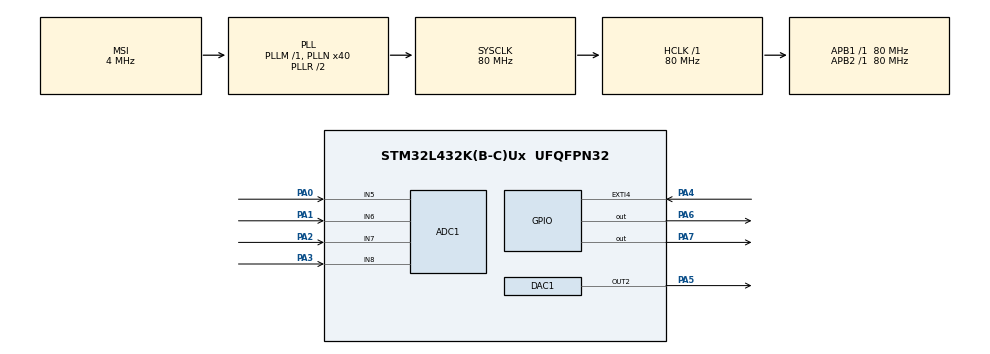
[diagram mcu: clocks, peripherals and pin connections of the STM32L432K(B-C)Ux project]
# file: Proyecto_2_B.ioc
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ADC1.Channel-1\#ChannelRegularConversion=ADC_CHANNEL_5
ADC1.Channel-3\#ChannelRegularConversion=ADC_CHANNEL_6
ADC1.Channel-4\#ChannelRegularConversion=ADC_CHANNEL_7
ADC1.Channel-5\#ChannelRegularConversion=ADC_CHANNEL_8
ADC1.EOCSelection=ADC_EOC_SEQ_CONV
ADC1.NbrOfConversion=4
ADC1.NbrOfConversionFlag=1
ADC1.OffsetNumber-3\#ChannelRegularConversion=ADC_OFFSET_NONE
ADC1.OffsetNumber-4\#ChannelRegularConversion=ADC_OFFSET_NONE
ADC1.OffsetNumber-5\#ChannelRegularConversion=ADC_OFFSET_NONE
ADC1.Rank-3\#ChannelRegularConversion=2
ADC1.Rank-4\#ChannelRegularConversion=3
ADC1.Rank-5\#ChannelRegularConversion=4
ADC1.SamplingTime-3\#ChannelRegularConversion=ADC_SAMPLETIME_2CYCLES_5
ADC1.SamplingTime-4\#ChannelRegularConversion=ADC_SAMPLETIME_2CYCLES_5
ADC1.SamplingTime-5\#ChannelRegularConversion=ADC_SAMPLETIME_2CYCLES_5
ADC1.master=1
DAC1.DAC_Channel-DAC_OUT2=DAC_CHANNEL_2
Dma.ADC1.0.Direction=DMA_PERIPH_TO_MEMORY
Dma.ADC1.0.Instance=DMA1_Channel1
Dma.ADC1.0.MemDataAlignment=DMA_MDATAALIGN_HALFWORD
Dma.ADC1.0.MemInc=DMA_MINC_ENABLE
Dma.ADC1.0.Mode=DMA_CIRCULAR
Dma.ADC1.0.PeriphDataAlignment=DMA_PDATAALIGN_HALFWORD
Dma.ADC1.0.PeriphInc=DMA_PINC_DISABLE
Dma.ADC1.0.Priority=DMA_PRIORITY_LOW
Dma.Request0=ADC1
Mcu.Family=STM32L4
Mcu.Name=STM32L432K(B-C)Ux
Mcu.Package=UFQFPN32
NVIC.DMA1_Channel1_IRQn=true\:0\:0\:false\:false\:true\:false\:true\:true
NVIC.EXTI4_IRQn=true\:1\:0\:true\:false\:true\:true\:true\:true
NVIC.PriorityGroup=NVIC_PRIORITYGROUP_4
NVIC.TIM1_UP_TIM16_IRQn=true\:0\:0\:false\:false\:true\:true\:true\:true
PA0.Signal=ADCx_IN5
PA1.Signal=ADCx_IN6
PA2.Signal=ADCx_IN7
PA3.Signal=ADCx_IN8
PA4.GPIO_ModeDefaultEXTI=GPIO_MODE_IT_RISING_FALLING
PA4.GPIO_PuPd=GPIO_PULLDOWN
PA4.Signal=GPXTI4
PA5.Signal=COMP_DAC12_group
PA6.Signal=GPIO_Output
PA7.Signal=GPIO_Output
ProjectManager.HeapSize=0x200
ProjectManager.StackSize=0x400
ProjectManager.TargetToolchain=STM32CubeIDE
RCC.ADCFreq_Value=32000000
RCC.AHBFreq_Value=80000000
RCC.APB1Freq_Value=80000000
RCC.APB1TimFreq_Value=80000000
RCC.APB2Freq_Value=80000000
RCC.APB2TimFreq_Value=80000000
RCC.CortexFreq_Value=80000000
RCC.HCLKFreq_Value=80000000
RCC.HSE_VALUE=8000000
RCC.HSI48_VALUE=48000000
RCC.HSI_VALUE=16000000
RCC.LSE_VALUE=32768
RCC.MSI_VALUE=4000000
RCC.PLLN=40
RCC.PLLSAI1N=16
RCC.SYSCLKFreq_VALUE=80000000
RCC.SYSCLKSource=RCC_SYSCLKSOURCE_PLLCLK
RCC.USBFreq_Value=32000000
RCC.VCOOutputFreq_Value=160000000
SH.ADCx_IN5.0=ADC1_IN5,IN5-Single-Ended
SH.ADCx_IN6.0=ADC1_IN6,IN6-Single-Ended
SH.ADCx_IN7.0=ADC1_IN7,IN7-Single-Ended
SH.ADCx_IN8.0=ADC1_IN8,IN8-Single-Ended
SH.COMP_DAC12_group.0=DAC1_OUT2,DAC_OUT2
TIM1.Period=20-1
TIM1.Prescaler=72-1
VP_TIM1_VS_ClockSourceINT.Mode=Internal
board=custom

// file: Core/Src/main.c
/* USER CODE BEGIN Header */
/**
  ******************************************************************************
  * @file           : main.c
  * @brief          : Main program body
  ******************************************************************************
  * @attention
  *
  * Copyright (c) 2024 STMicroelectronics.
  * All rights reserved.
  *
  * This software is licensed under terms that can be found in the LICENSE file
  * in the root directory of this software component.
  * If no LICENSE file comes with this software, it is provided AS-IS.
  *
  ******************************************************************************
  */
/* USER CODE END Header */
#include "main.h"

/* USER CODE BEGIN Includes */
#include "math.h"
/* USER CODE END Includes */

/* USER CODE BEGIN PTD */

typedef enum
{
	attack,
	decay,
	sustain,
	release,
	off
}etapas_t;

/* USER CODE END PTD */

ADC_HandleTypeDef hadc1;
DMA_HandleTypeDef hdma_adc1;

DAC_HandleTypeDef hdac1;

TIM_HandleTypeDef htim1;

/* USER CODE BEGIN PV */

float r_a = 0;
float r_d = 0;
float v_s = 0;
float r_r = 0;
uint16_t adcValues[4];

etapas_t etapas = off;

float b_a = 0;
float b_d = 0;
float b_r = 0;

int Gate = 0;

float x = 0;
float y = 0;

float env = 0;
int flag = 0;
float pendiente_d = 0;

/* USER CODE END PV */

void SystemClock_Config(void);
static void MX_GPIO_Init(void);
static void MX_DMA_Init(void);
static void MX_ADC1_Init(void);
static void MX_DAC1_Init(void);
static void MX_TIM1_Init(void);
/* USER CODE BEGIN PFP */
float generador_exp(float tau, float ini, char c);
/* USER CODE END PFP */

int main(void)
{

  /* MCU Configuration--------------------------------------------------------*/

  /* Reset of all peripherals, Initializes the Flash interface and the Systick. */
  HAL_Init();

  /* Configure the system clock */
  SystemClock_Config();

  /* Initialize all configured peripherals */
  MX_GPIO_Init();
  MX_DMA_Init();
  MX_ADC1_Init();
  MX_DAC1_Init();
  MX_TIM1_Init();
  /* USER CODE BEGIN 2 */

  //HAL_GPIO_EXTI_Callback(GPIO_PIN_4);

  	HAL_DAC_Start(&hdac1, DAC_CHANNEL_2);
  	HAL_TIM_Base_Start_IT(&htim1);

  	HAL_GPIO_WritePin(GPIOA, GPIO_PIN_7, GPIO_PIN_SET);

  /* USER CODE END 2 */

  /* Infinite loop */
  while (1)
  {

    /* USER CODE BEGIN 3 */

	  switch(etapas)
	  {
	  case attack:

		  float tau_a = (2.2e-6)*r_a;

		  if(flag == 1 && Gate == 1)
		  {
			  env = generador_exp(tau_a, 0, 'a');

			  if(env >= 3.3)
			  {
				  etapas = decay;
				  x = 0;
			  }
			  else
			  {
				  flag = 0;
				  HAL_DAC_SetValue(&hdac1, DAC_CHANNEL_2, DAC_ALIGN_12B_R, env*4095/3.3);
			  }
		  }
		  if(flag == 1 && Gate == 0)
		  {
			  x = 0;
			  v_s = env;
			  etapas = release;
		  }

		  break;
	  case decay:

		  float tau_d = (2.2e-6)*r_d;

		  if(flag == 1)
		  {
			  env = generador_exp(tau_d, 3.3 ,'d');

			  if(env <= v_s)
			  {
				  etapas = sustain;
				  x = 0;
			  }
			  else
			  {
				  flag = 0;
				  HAL_DAC_SetValue(&hdac1, DAC_CHANNEL_2, DAC_ALIGN_12B_R, env*4095/3.3);
			  }
		  }
		  if(flag == 1 && Gate == 0)
		  {
			  x = 0;
			  v_s = env;
			  etapas = release;
		  }

		  break;
	  case sustain:

		  HAL_DAC_SetValue(&hdac1, DAC_CHANNEL_2, DAC_ALIGN_12B_R, env*4095/3.3);

		  if(Gate == 0)
		  {
			  etapas = release;
			  x = 0;
		  }
		  else
		  {
			  etapas = sustain;
		  }

		  break;
	  case release:

		  float tau_r = (2.2e-6)*r_r;

		  if(flag == 1)
		  {
			  env = generador_exp(tau_r, v_s, 'r');

			  if(env <= 0.05)
			  {
				  etapas = off;
				  x = 0;
			  }
			  else
			  {
				  flag = 0;
				  HAL_DAC_SetValue(&hdac1, DAC_CHANNEL_2, DAC_ALIGN_12B_R, env*4095/3.3);
			  }
		  }

		  break;
	  case off:

		  if(Gate == 1)
		  {
			  etapas = attack;
			  x = 0;
		  }
		  else
		  {
			  etapas = off;
		  }

		  break;
	  }
	}
  /* USER CODE END 3 */
}

void SystemClock_Config(void)
{
  RCC_OscInitTypeDef RCC_OscInitStruct = {0};
  RCC_ClkInitTypeDef RCC_ClkInitStruct = {0};

  /** Configure the main internal regulator output voltage
  */
  if (HAL_PWREx_ControlVoltageScaling(PWR_REGULATOR_VOLTAGE_SCALE1) != HAL_OK)
  {
    Error_Handler();
  }

  /** Initializes the RCC Oscillators according to the specified parameters
  * in the RCC_OscInitTypeDef structure.
  */
  RCC_OscInitStruct.OscillatorType = RCC_OSCILLATORTYPE_MSI;
  RCC_OscInitStruct.MSIState = RCC_MSI_ON;
  RCC_OscInitStruct.MSICalibrationValue = 0;
  RCC_OscInitStruct.MSIClockRange = RCC_MSIRANGE_6;
  RCC_OscInitStruct.PLL.PLLState = RCC_PLL_ON;
  RCC_OscInitStruct.PLL.PLLSource = RCC_PLLSOURCE_MSI;
  RCC_OscInitStruct.PLL.PLLM = 1;
  RCC_OscInitStruct.PLL.PLLN = 40;
  RCC_OscInitStruct.PLL.PLLP = RCC_PLLP_DIV7;
  RCC_OscInitStruct.PLL.PLLQ = RCC_PLLQ_DIV2;
  RCC_OscInitStruct.PLL.PLLR = RCC_PLLR_DIV2;
  if (HAL_RCC_OscConfig(&RCC_OscInitStruct) != HAL_OK)
  {
    Error_Handler();
  }

  /** Initializes the CPU, AHB and APB buses clocks
  */
  RCC_ClkInitStruct.ClockType = RCC_CLOCKTYPE_HCLK|RCC_CLOCKTYPE_SYSCLK
                              |RCC_CLOCKTYPE_PCLK1|RCC_CLOCKTYPE_PCLK2;
  RCC_ClkInitStruct.SYSCLKSource = RCC_SYSCLKSOURCE_PLLCLK;
  RCC_ClkInitStruct.AHBCLKDivider = RCC_SYSCLK_DIV1;
  RCC_ClkInitStruct.APB1CLKDivider = RCC_HCLK_DIV1;
  RCC_ClkInitStruct.APB2CLKDivider = RCC_HCLK_DIV1;

  if (HAL_RCC_ClockConfig(&RCC_ClkInitStruct, FLASH_LATENCY_4) != HAL_OK)
  {
    Error_Handler();
  }
}

static void MX_ADC1_Init(void)
{

  ADC_ChannelConfTypeDef sConfig = {0};

  /** Common config
  */
  hadc1.Instance = ADC1;
  hadc1.Init.ClockPrescaler = ADC_CLOCK_ASYNC_DIV1;
  hadc1.Init.Resolution = ADC_RESOLUTION_12B;
  hadc1.Init.DataAlign = ADC_DATAALIGN_RIGHT;
  hadc1.Init.ScanConvMode = ADC_SCAN_ENABLE;
  hadc1.Init.EOCSelection = ADC_EOC_SEQ_CONV;
  hadc1.Init.LowPowerAutoWait = DISABLE;
  hadc1.Init.ContinuousConvMode = DISABLE;
  hadc1.Init.NbrOfConversion = 4;
  hadc1.Init.DiscontinuousConvMode = DISABLE;
  hadc1.Init.ExternalTrigConv = ADC_SOFTWARE_START;
  hadc1.Init.ExternalTrigConvEdge = ADC_EXTERNALTRIGCONVEDGE_NONE;
  hadc1.Init.DMAContinuousRequests = DISABLE;
  hadc1.Init.Overrun = ADC_OVR_DATA_PRESERVED;
  hadc1.Init.OversamplingMode = DISABLE;
  if (HAL_ADC_Init(&hadc1) != HAL_OK)
  {
    Error_Handler();
  }

  /** Configure Regular Channel
  */
  sConfig.Channel = ADC_CHANNEL_5;
  sConfig.Rank = ADC_REGULAR_RANK_1;
  sConfig.SamplingTime = ADC_SAMPLETIME_2CYCLES_5;
  sConfig.SingleDiff = ADC_SINGLE_ENDED;
  sConfig.OffsetNumber = ADC_OFFSET_NONE;
  sConfig.Offset = 0;
  if (HAL_ADC_ConfigChannel(&hadc1, &sConfig) != HAL_OK)
  {
    Error_Handler();
  }

  /** Configure Regular Channel
  */
  sConfig.Channel = ADC_CHANNEL_6;
  sConfig.Rank = ADC_REGULAR_RANK_2;
  if (HAL_ADC_ConfigChannel(&hadc1, &sConfig) != HAL_OK)
  {
    Error_Handler();
  }

  /** Configure Regular Channel
  */
  sConfig.Channel = ADC_CHANNEL_7;
  sConfig.Rank = ADC_REGULAR_RANK_3;
  if (HAL_ADC_ConfigChannel(&hadc1, &sConfig) != HAL_OK)
  {
    Error_Handler();
  }

  /** Configure Regular Channel
  */
  sConfig.Channel = ADC_CHANNEL_8;
  sConfig.Rank = ADC_REGULAR_RANK_4;
  if (HAL_ADC_ConfigChannel(&hadc1, &sConfig) != HAL_OK)
  {
    Error_Handler();
  }

}

static void MX_DAC1_Init(void)
{

  DAC_ChannelConfTypeDef sConfig = {0};

  /** DAC Initialization
  */
  hdac1.Instance = DAC1;
  if (HAL_DAC_Init(&hdac1) != HAL_OK)
  {
    Error_Handler();
  }

  /** DAC channel OUT2 config
  */
  sConfig.DAC_SampleAndHold = DAC_SAMPLEANDHOLD_DISABLE;
  sConfig.DAC_Trigger = DAC_TRIGGER_NONE;
  sConfig.DAC_OutputBuffer = DAC_OUTPUTBUFFER_ENABLE;
  sConfig.DAC_ConnectOnChipPeripheral = DAC_CHIPCONNECT_DISABLE;
  sConfig.DAC_UserTrimming = DAC_TRIMMING_FACTORY;
  if (HAL_DAC_ConfigChannel(&hdac1, &sConfig, DAC_CHANNEL_2) != HAL_OK)
  {
    Error_Handler();
  }

}

static void MX_TIM1_Init(void)
{

  TIM_ClockConfigTypeDef sClockSourceConfig = {0};
  TIM_MasterConfigTypeDef sMasterConfig = {0};

  htim1.Instance = TIM1;
  htim1.Init.Prescaler = 72-1;
  htim1.Init.CounterMode = TIM_COUNTERMODE_UP;
  htim1.Init.Period = 20-1;
  htim1.Init.ClockDivision = TIM_CLOCKDIVISION_DIV1;
  htim1.Init.RepetitionCounter = 0;
  htim1.Init.AutoReloadPreload = TIM_AUTORELOAD_PRELOAD_DISABLE;
  if (HAL_TIM_Base_Init(&htim1) != HAL_OK)
  {
    Error_Handler();
  }
  sClockSourceConfig.ClockSource = TIM_CLOCKSOURCE_INTERNAL;
  if (HAL_TIM_ConfigClockSource(&htim1, &sClockSourceConfig) != HAL_OK)
  {
    Error_Handler();
  }
  sMasterConfig.MasterOutputTrigger = TIM_TRGO_RESET;
  sMasterConfig.MasterOutputTrigger2 = TIM_TRGO2_RESET;
  sMasterConfig.MasterSlaveMode = TIM_MASTERSLAVEMODE_DISABLE;
  if (HAL_TIMEx_MasterConfigSynchronization(&htim1, &sMasterConfig) != HAL_OK)
  {
    Error_Handler();
  }

}

static void MX_DMA_Init(void)
{

  /* DMA controller clock enable */
  __HAL_RCC_DMA1_CLK_ENABLE();

  /* DMA interrupt init */
  /* DMA1_Channel1_IRQn interrupt configuration */
  HAL_NVIC_SetPriority(DMA1_Channel1_IRQn, 0, 0);
  HAL_NVIC_EnableIRQ(DMA1_Channel1_IRQn);

}

static void MX_GPIO_Init(void)
{
  GPIO_InitTypeDef GPIO_InitStruct = {0};

  /* GPIO Ports Clock Enable */
  __HAL_RCC_GPIOA_CLK_ENABLE();

  /*Configure GPIO pin Output Level */
  HAL_GPIO_WritePin(GPIOA, GPIO_PIN_6|GPIO_PIN_7, GPIO_PIN_RESET);

  /*Configure GPIO pin : PA4 */
  GPIO_InitStruct.Pin = GPIO_PIN_4;
  GPIO_InitStruct.Mode = GPIO_MODE_IT_RISING_FALLING;
  GPIO_InitStruct.Pull = GPIO_PULLDOWN;
  HAL_GPIO_Init(GPIOA, &GPIO_InitStruct);

  /*Configure GPIO pins : PA6 PA7 */
  GPIO_InitStruct.Pin = GPIO_PIN_6|GPIO_PIN_7;
  GPIO_InitStruct.Mode = GPIO_MODE_OUTPUT_PP;
  GPIO_InitStruct.Pull = GPIO_NOPULL;
  GPIO_InitStruct.Speed = GPIO_SPEED_FREQ_LOW;
  HAL_GPIO_Init(GPIOA, &GPIO_InitStruct);

  /* EXTI interrupt init*/
  HAL_NVIC_SetPriority(EXTI4_IRQn, 1, 0);
  HAL_NVIC_EnableIRQ(EXTI4_IRQn);

}

/* USER CODE BEGIN 4 */

float generador_exp(float tau, float ini, char c)
{

	if(c == 'a')
	{
		y = 4.95*(1-exp(-(1/tau)*x));
	}
	else if(c == 'd')
	{
		y = v_s - (v_s - ini)*exp(-(1/tau)*(x));
	}
	else
	{
		y = ini*exp(-(1/tau)*(x));
	}

	return y;
}

void HAL_GPIO_EXTI_Callback(uint16_t GPIO_Pin)
{

	if (GPIO_Pin == GPIO_PIN_4)
	{
		//HAL_Delay(10);

		if(HAL_GPIO_ReadPin(GPIOA, GPIO_PIN_4) == GPIO_PIN_SET)
		{
			Gate = 1;
			HAL_GPIO_WritePin(GPIOA, GPIO_PIN_6, GPIO_PIN_SET);    // GATE (A6)
			HAL_GPIO_WritePin(GPIOA, GPIO_PIN_7, GPIO_PIN_RESET);  // TRIG (A5)
			HAL_Delay(10);
			HAL_GPIO_WritePin(GPIOA, GPIO_PIN_7, GPIO_PIN_SET);
		}
		else
		{
			Gate = 0;
			HAL_GPIO_WritePin(GPIOA, GPIO_PIN_6, GPIO_PIN_RESET);
		}

		HAL_ADC_Start_DMA(&hadc1,(uint32_t*)adcValues, 4);  // 4 canales

	}
}

void HAL_TIM_PeriodElapsedCallback(TIM_HandleTypeDef *htim)
{
    if (htim->Instance == TIM1)
    {
    	flag = 1;
        x += 20e-6;
    }
}

void HAL_ADC_ConvCpltCallback(ADC_HandleTypeDef* hadc)
{
    if (hadc->Instance == ADC1)
    {
        r_a = adcValues[0]*(1400000.0/4095);  // attack
        if(r_a <= 33100.0)
        {
        	r_a = 33100.0;
        }
        r_d = adcValues[1]*(1000000.0/4095);  // decay
        if(r_d <= 20000.0)
        {
        	r_d = 20000.0;
        }
        v_s = adcValues[2]*(3.3/4095);  // sustain
        r_r = adcValues[3]*(1600000.0/4095);  // Release
        if(r_r <= 100.0)
        {
        	r_r = 100.0;
        }
    }
}

/* USER CODE END 4 */

void Error_Handler(void)
{
  __disable_irq();
  while (1)
  {
  }
}
